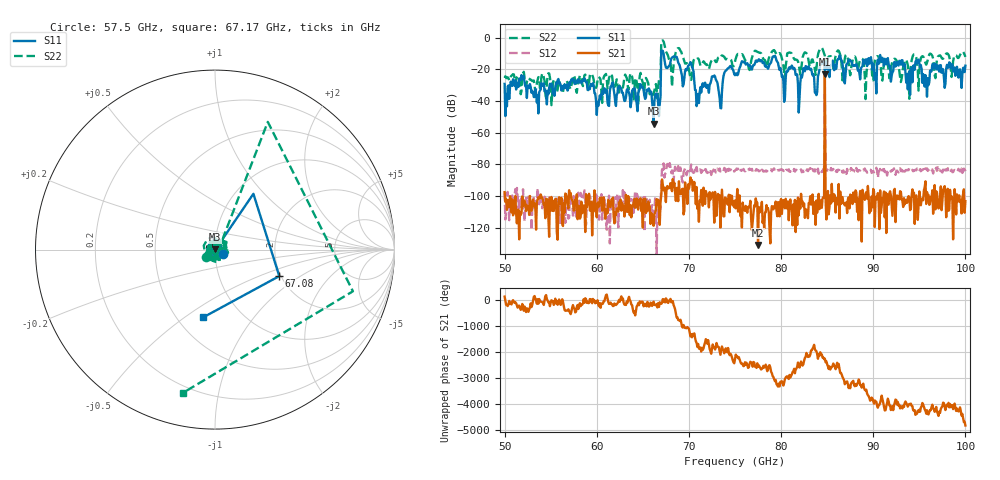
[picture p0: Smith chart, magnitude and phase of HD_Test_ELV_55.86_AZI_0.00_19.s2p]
! 11/25/2026 9:17:22 AM
! C:\ANRITSUVNA\TEMP\TEMP.S2P
! CHANNEL.1
! TR.MEASUREMENT
! RAW.DATA
# HZ S RI R 50.0
! FREQ.HZ  S11RE  S11IM  S21RE  S21IM  S12RE  S12IM  S22RE  S22IM
!; PortSelection: Port_12
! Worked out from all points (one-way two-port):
!   601 points, 50 GHz to 100 GHz, reference 50 ohm
!   highest |S21| = -23.13 dB at 84.75 GHz (marker M1); lowest = -131.0 dB at 77.5 GHz (marker M2)
!   lowest |S11| = -54.3 dB at 66.17 GHz (marker M3), VSWR 1.00, Z = 50.1 + j0.153 ohm
!   |S11| at or under -10 dB: start of sweep to 67 GHz; 67.24 GHz to end of sweep
!   |S22| runs from -42.7 to -1.8 dB; largest |S21 - S12| = 0.061
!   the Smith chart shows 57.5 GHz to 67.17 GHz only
!   S11 on the Smith chart (normalised r, x): 57.5 GHz: 1.09, -0.05; 67.08 GHz: 1.96, -0.68; 67.17 GHz: 0.67, -0.59
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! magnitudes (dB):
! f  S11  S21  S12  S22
! 50 GHz  -29.2  -97.6  -97.7  -25.3
! 57.5 GHz  -26.3  -109.3  -100.2  -23.7
! 58.42 GHz  -27.2  -110.9  -102.4  -29.0
! 60.17 GHz  -43.1  -104.7  -102.3  -24.8
! 61.67 GHz  -28.7  -102.4  -108.6  -24.5
! 66.17 GHz  -54.3  -118.9  -111.1  -35.4
! 66.67 GHz  -41.9  -102.5  -103.5  -32.1
! 67.08 GHz  -8.2  -89.6  -83.2  -1.9
! 67.17 GHz  -8.3  -93.3  -83.4  -1.8
! 70.17 GHz  -15.5  -88.4  -83.6  -25.7
! 70.92 GHz  -40.7  -108.2  -85.1  -13.3
! 75 GHz  -23.7  -102.9  -84.0  -15.0
! 77.5 GHz  -14.6  -131.0  -83.7  -9.1
! 79.33 GHz  -11.5  -107.1  -84.8  -8.6
! 80.25 GHz  -27.6  -102.7  -84.3  -17.7
! 83.42 GHz  -23.8  -99.1  -83.1  -13.8
! 84.75 GHz  -20.5  -23.1  -35.9  -11.5
! 91.67 GHz  -16.7  -105.6  -83.4  -20.5
! 93.75 GHz  -32.7  -101.4  -83.4  -17.3
! 94.83 GHz  -15.0  -115.2  -83.5  -20.3
! 95.83 GHz  -37.3  -97.6  -82.7  -15.9
! 100 GHz  -17.7  -103.3  -84.4  -12.2
